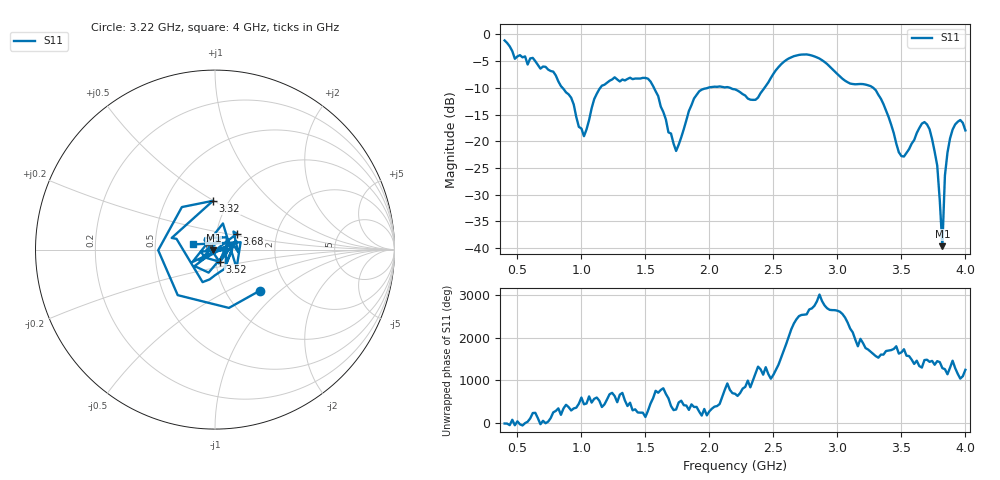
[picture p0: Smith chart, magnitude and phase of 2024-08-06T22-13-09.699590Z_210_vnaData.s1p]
!Created with skrf (http://scikit-rf.org).
# Hz S RI R 50.0
!freq ReS11 ImS11
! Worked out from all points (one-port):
!   181 points, 400 MHz to 4 GHz, reference 50 ohm
!   lowest |S11| = -39.6 dB at 3.82 GHz (marker M1), VSWR 1.02, Z = 49.1 - j0.46 ohm
!   |S11| at or under -10 dB: 852.5 MHz to 1.147 GHz (294.9 MHz wide, 29.5 % of centre); 1.567 GHz to 1.988 GHz (421.6 MHz wide, 23.7 % of centre); 3.28 GHz to end of sweep (the widest 3 of 4)
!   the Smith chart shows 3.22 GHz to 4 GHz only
!   S11 on the Smith chart (normalised r, x): 3.22 GHz: 1.44, -0.74; 3.32 GHz: 0.84, +0.50; 3.52 GHz: 1.04, -0.14; 3.68 GHz: 1.26, +0.23; 4 GHz: 0.78, +0.05
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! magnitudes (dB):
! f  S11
! 400 MHz  -1.1
! 480 MHz  -4.6
! 620 MHz  -4.4
! 860 MHz  -10.2
! 1.02 GHz  -19.0
! 1.14 GHz  -10.2
! 1.3 GHz  -8.8
! 1.52 GHz  -8.3
! 1.74 GHz  -21.8
! 1.76 GHz  -20.6
! 1.92 GHz  -10.7
! 2.2 GHz  -10.3
! 2.36 GHz  -12.2
! 2.66 GHz  -4.1
! 2.86 GHz  -4.5
! 3.1 GHz  -9.2
! 3.22 GHz  -9.4
! 3.32 GHz  -11.3
! 3.52 GHz  -22.9
! 3.56 GHz  -21.5
! 3.68 GHz  -16.4
! 3.72 GHz  -17.7
! 3.78 GHz  -24.5
! 3.82 GHz  -39.6
! 3.84 GHz  -26.4
! 3.88 GHz  -19.5
! 3.96 GHz  -16.0
! 4 GHz  -18.0
